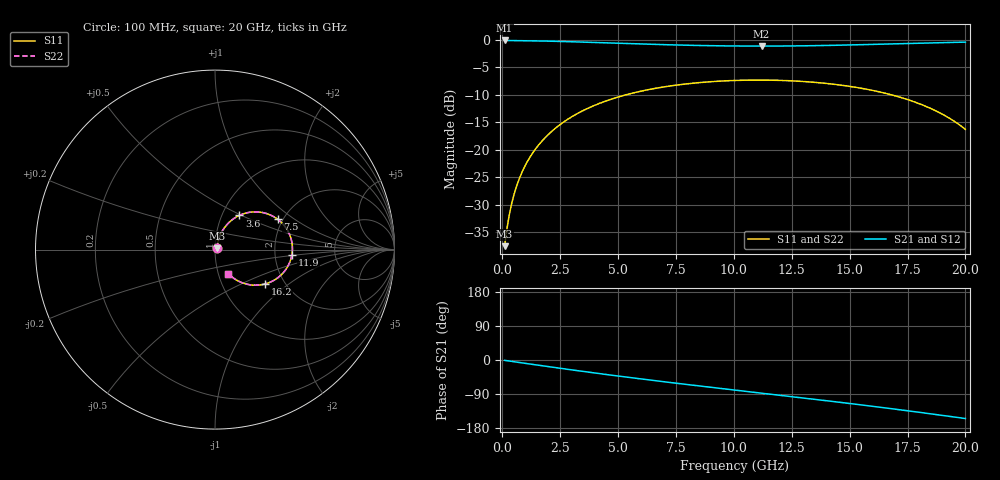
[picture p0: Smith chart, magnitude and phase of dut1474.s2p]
! Touchstone file exported from HFSS 2026.1.0
!  File:  C:/ffzhzh/LocalFiles/Ansys_Project_Files/temp_train_TSV_RDL_1474_1783361947_48288.aedt
!  Generated:  02:30:10 AM Jul  7, 2026
!  Design:  TSV_RDL
!  Project:  temp_train_TSV_RDL_1474_1783361947_48288
! Variables:
!  h_bsmrdl = 3.38um
!  h_ox = 20um
!  h_rdl = 5um
!  h_sub = 72.01um
!  h_tmrdl = 4.41um
!  h_tsv = 72.01um
!  h_via = 3um
!  l_bsmrdl = 376.43um
!  l_sub = 2621.82um
!  l_tmrdl = 240.8um
!  m_sub = 200um
!  pitch = 42.55um
!  r_tsv = 8.23um
!  s_tmrdl = 10um
!  w_bsmrdl = 22.68um
!  w_sub = 500um
!  w_tmrdl = 20.43um
!  x_tsv_center1 = 251.015um
!  x_tsv_center2 = 650.125um
!  x_tsv_center3 = 911.355um
!  x_tsv_center4 = 1310.465um
!  x_tsv_center5 = 1571.695um
!  x_tsv_center6 = 1970.805um
# GHz S MA R 50.000000
! Terminal data exported
! Port[1] = TM_RDL1_1_T1
! Port[2] = TM_RDL5_1_T1
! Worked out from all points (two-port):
!   200 points, 100 MHz to 20 GHz, reference 50 ohm
!   highest |S21| = -0.09 dB at 100 MHz (marker M1); lowest = -1.1 dB at 11.2 GHz (marker M2)
!   |S21| within 3 dB of the highest: start of sweep to end of sweep
!   lowest |S11| = -37.5 dB at 100 MHz (marker M3), VSWR 1.03, Z = 51.1 + j0.789 ohm
!   |S11| at or under -10 dB: start of sweep to 5.329 GHz; 16.82 GHz to end of sweep
!   |S22| runs from -37.5 to -7.3 dB; largest |S21 - S12| = 1.4e-13
!   S11 on the Smith chart (normalised r, x): 100 MHz: 1.02, +0.02; 3.6 GHz: 1.21, +0.49; 7.5 GHz: 1.88, +0.75; 11.9 GHz: 2.48, -0.19; 16.2 GHz: 1.60, -0.69; 20 GHz: 1.12, -0.31
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0.1  0.01329 35.5  0.9893 -0.9  0.9893 -0.9  0.01329 35.5
! Gamma 0 0 0 0
! Port Impedance 50 0 50 0
0.2  0.01908 52.2  0.9887 -1.8  0.9887 -1.8  0.01908 52.2
0.3  0.02553 59.9  0.988 -2.7  0.988 -2.7  0.02553 59.9
0.5  0.03881 66.8  0.9868 -4.5  0.9868 -4.5  0.03881 66.8
0.8  0.05909 70.0  0.9851 -7.2  0.9851 -7.2  0.05909 70.0
1.1  0.07939 70.2  0.9831 -9.8  0.9831 -9.8  0.07939 70.2
1.6  0.1127 68.4  0.979 -14.1  0.979 -14.1  0.1127 68.4
2.1  0.1451 65.4  0.974 -18.5  0.974 -18.5  0.1451 65.4
2.7  0.1822 61.3  0.9668 -23.6  0.9668 -23.6  0.1822 61.3
3.5  0.2282 55.4  0.9559 -30.2  0.9559 -30.2  0.2282 55.4
3.6  0.2337 54.6  0.9545 -31.1  0.9545 -31.1  0.2337 54.6
5  0.3023 44.1  0.9335 -42.3  0.9335 -42.3  0.3023 44.1
6.8  0.3686 30.9  0.9082 -56.0  0.9082 -56.0  0.3685 30.9
7.5  0.3877 25.9  0.8999 -61.2  0.8999 -61.2  0.3877 25.9
10.1  0.4282 8.0  0.8808 -79.8  0.8808 -79.8  0.4282 8.0
11.2  0.4313 0.5  0.879 -87.5  0.879 -87.5  0.4313 0.5
11.9  0.429 -4.2  0.8798 -92.4  0.8798 -92.4  0.429 -4.2
13.4  0.4128 -14.5  0.8865 -103.1  0.8865 -103.1  0.4128 -14.4
16.2  0.34 -34.1  0.9133 -123.8  0.9133 -123.8  0.34 -34.1
16.7  0.321 -37.8  0.9192 -127.6  0.9192 -127.6  0.321 -37.7
18.6  0.2329 -51.5  0.9416 -142.8  0.9416 -142.8  0.2329 -51.5
20  0.1537 -60.9  0.9547 -154.5  0.9547 -154.5  0.1537 -60.9
